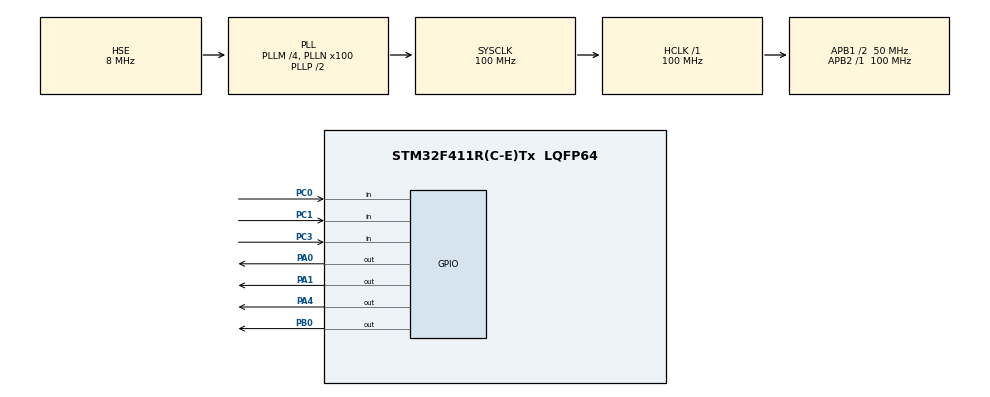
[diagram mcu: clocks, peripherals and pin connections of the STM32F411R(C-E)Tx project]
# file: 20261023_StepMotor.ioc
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Mcu.Family=STM32F4
Mcu.Name=STM32F411R(C-E)Tx
Mcu.Package=LQFP64
NVIC.PriorityGroup=NVIC_PRIORITYGROUP_4
NVIC.TIM1_BRK_TIM9_IRQn=true\:0\:0\:false\:false\:true\:true\:true\:true
PA0-WKUP.Signal=GPIO_Output
PA1.Signal=GPIO_Output
PA13.Mode=Serial_Wire
PA13.Signal=SYS_JTMS-SWDIO
PA14.Mode=Serial_Wire
PA14.Signal=SYS_JTCK-SWCLK
PA4.Signal=GPIO_Output
PB0.Signal=GPIO_Output
PC0.Signal=GPIO_Input
PC1.Signal=GPIO_Input
PC3.Signal=GPIO_Input
PH0\ -\ OSC_IN.Mode=HSE-External-Oscillator
PH0\ -\ OSC_IN.Signal=RCC_OSC_IN
PH1\ -\ OSC_OUT.Mode=HSE-External-Oscillator
PH1\ -\ OSC_OUT.Signal=RCC_OSC_OUT
ProjectManager.HeapSize=0x200
ProjectManager.StackSize=0x400
ProjectManager.TargetToolchain=STM32CubeIDE
RCC.48MHZClocksFreq_Value=50000000
RCC.AHBFreq_Value=100000000
RCC.APB1CLKDivider=RCC_HCLK_DIV2
RCC.APB1Freq_Value=50000000
RCC.APB1TimFreq_Value=100000000
RCC.APB2Freq_Value=100000000
RCC.APB2TimFreq_Value=100000000
RCC.CortexFreq_Value=100000000
RCC.HCLKFreq_Value=100000000
RCC.HSE_VALUE=8000000
RCC.HSI_VALUE=16000000
RCC.LSE_VALUE=32768
RCC.PLLM=4
RCC.PLLN=100
RCC.PLLSourceVirtual=RCC_PLLSOURCE_HSE
RCC.SYSCLKFreq_VALUE=100000000
RCC.SYSCLKSource=RCC_SYSCLKSOURCE_PLLCLK
RCC.VCOOutputFreq_Value=200000000
TIM9.AutoReloadPreload=TIM_AUTORELOAD_PRELOAD_ENABLE
TIM9.Period=1000-1
TIM9.Prescaler=100-1
VP_TIM9_VS_ClockSourceINT.Mode=Internal
board=custom

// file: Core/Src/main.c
/* USER CODE BEGIN Header */
/**
 ******************************************************************************
 * @file           : main.c
 * @brief          : Main program body
 ******************************************************************************
 * @attention
 *
 * Copyright (c) 2026 STMicroelectronics.
 * All rights reserved.
 *
 * This software is licensed under terms that can be found in the LICENSE file
 * in the root directory of this software component.
 * If no LICENSE file comes with this software, it is provided AS-IS.
 *
 ******************************************************************************
 */
/* USER CODE END Header */
#include "main.h"

/* USER CODE BEGIN Includes */
#include "driver/StepMotor/StepMotor.h"
#include "driver/button/button.h"
/* USER CODE END Includes */

TIM_HandleTypeDef htim9;

void SystemClock_Config(void);
static void MX_GPIO_Init(void);
static void MX_TIM9_Init(void);

/* USER CODE BEGIN 0 */
stepMotor_pin_t stepMotorPinSec = {
		.port = {GPIOA, GPIOA, GPIOA, GPIOB},
		.pin = {GPIO_PIN_0, GPIO_PIN_1, GPIO_PIN_4, GPIO_PIN_0}
};

stepMotor_t motor_sec = {
		.pin = &stepMotorPinSec,
		.stepCounter = 0
};

volatile uint8_t isrFlag = 0;

void ClockNeedle_setFlag(void)
{
	isrFlag = 1;
}

void ClockNeedle_clearFlag(void)
{
	isrFlag = 0;
}

void clockNeedle_ISR(void)
{
	ClockNeedle_setFlag();
}

void ClockNeedle_task(void){
	if (isrFlag == 0) {
		return;
	}
	ClockNeedle_clearFlag();
	StepMotor_stepPhase(&motor_sec, STEP_MOTOR_DIR_CW);

}

void HAL_TIM_PeriodElapsedCallback(TIM_HandleTypeDef *htim)
{
	if (htim -> Instance == TIM9) {
		clockNeedle_ISR();
	}
}

/* USER CODE END 0 */

int main(void)
{

	/* MCU Configuration--------------------------------------------------------*/

	/* Reset of all peripherals, Initializes the Flash interface and the Systick. */
	HAL_Init();

	/* Configure the system clock */
	SystemClock_Config();

	/* Initialize all configured peripherals */
	MX_GPIO_Init();
	MX_TIM9_Init();
	/* USER CODE BEGIN 2 */

	button_t btn_up;
	button_t btn_down;

	button_init(&btn_up, GPIOC, GPIO_PIN_1);
	button_init(&btn_down, GPIOC, GPIO_PIN_3);

	HAL_TIM_Base_Start_IT(&htim9);
	/* USER CODE END 2 */

	/* Infinite loop */
	/* USER CODE BEGIN WHILE */
	while (1)
	{

		ClockNeedle_task();
		if(button_getState(&btn_up) == ACT_RELEASE)
		{
			__HAL_TIM_SET_AUTORELOAD(&htim9, 1000-1);
		}
		else if(button_getState(&btn_down) == ACT_RELEASE)
		{
			__HAL_TIM_SET_AUTORELOAD(&htim9, 5000-1);
		}

		//			for (int i = 0; i < 4096; i++){
		//				StepMotor_stepPhase(&motor_sec, STEP_MOTOR_DIR_CCW);
		//				HAL_Delay(2);
		// 1
		//				StepMotor_writePattern(&motor_sec, step_table[7]);
		//				HAL_Delay(2);

		// 2
		//				StepMotor_writePattern(&motor_sec, step_table[6]);
		//				HAL_Delay(2);

		// 3
		//				StepMotor_writePattern(&motor_sec, step_table[5]);
		//				HAL_Delay(2);

		// 4
		//				StepMotor_writePattern(&motor_sec, step_table[4]);
		//				HAL_Delay(2);

		// 5
		//				StepMotor_writePattern(&motor_sec, step_table[3]);
		//				HAL_Delay(2);

		// 6
		//				StepMotor_writePattern(&motor_sec, step_table[2]);
		//				HAL_Delay(2);

		// 7
		//				StepMotor_writePattern(&motor_sec, step_table[1]);
		//				HAL_Delay(2);

		// 8
		//				StepMotor_writePattern(&motor_sec, step_table[0]);
		//				HAL_Delay(2);
		//			}
		//			StepMotor_release(&motor_sec);
		//			HAL_Delay(2000);

		/* USER CODE END WHILE */

	}
}

void SystemClock_Config(void)
{
	RCC_OscInitTypeDef RCC_OscInitStruct = {0};
	RCC_ClkInitTypeDef RCC_ClkInitStruct = {0};

	/** Configure the main internal regulator output voltage
	 */
	__HAL_RCC_PWR_CLK_ENABLE();
	__HAL_PWR_VOLTAGESCALING_CONFIG(PWR_REGULATOR_VOLTAGE_SCALE1);

	/** Initializes the RCC Oscillators according to the specified parameters
	 * in the RCC_OscInitTypeDef structure.
	 */
	RCC_OscInitStruct.OscillatorType = RCC_OSCILLATORTYPE_HSE;
	RCC_OscInitStruct.HSEState = RCC_HSE_ON;
	RCC_OscInitStruct.PLL.PLLState = RCC_PLL_ON;
	RCC_OscInitStruct.PLL.PLLSource = RCC_PLLSOURCE_HSE;
	RCC_OscInitStruct.PLL.PLLM = 4;
	RCC_OscInitStruct.PLL.PLLN = 100;
	RCC_OscInitStruct.PLL.PLLP = RCC_PLLP_DIV2;
	RCC_OscInitStruct.PLL.PLLQ = 4;
	if (HAL_RCC_OscConfig(&RCC_OscInitStruct) != HAL_OK)
	{
		Error_Handler();
	}

	/** Initializes the CPU, AHB and APB buses clocks
	 */
	RCC_ClkInitStruct.ClockType = RCC_CLOCKTYPE_HCLK|RCC_CLOCKTYPE_SYSCLK
			|RCC_CLOCKTYPE_PCLK1|RCC_CLOCKTYPE_PCLK2;
	RCC_ClkInitStruct.SYSCLKSource = RCC_SYSCLKSOURCE_PLLCLK;
	RCC_ClkInitStruct.AHBCLKDivider = RCC_SYSCLK_DIV1;
	RCC_ClkInitStruct.APB1CLKDivider = RCC_HCLK_DIV2;
	RCC_ClkInitStruct.APB2CLKDivider = RCC_HCLK_DIV1;

	if (HAL_RCC_ClockConfig(&RCC_ClkInitStruct, FLASH_LATENCY_3) != HAL_OK)
	{
		Error_Handler();
	}
}

static void MX_TIM9_Init(void)
{

	TIM_ClockConfigTypeDef sClockSourceConfig = {0};

	htim9.Instance = TIM9;
	htim9.Init.Prescaler = 100-1;
	htim9.Init.CounterMode = TIM_COUNTERMODE_UP;
	htim9.Init.Period = 1000-1;
	htim9.Init.ClockDivision = TIM_CLOCKDIVISION_DIV1;
	htim9.Init.AutoReloadPreload = TIM_AUTORELOAD_PRELOAD_ENABLE;
	if (HAL_TIM_Base_Init(&htim9) != HAL_OK)
	{
		Error_Handler();
	}
	sClockSourceConfig.ClockSource = TIM_CLOCKSOURCE_INTERNAL;
	if (HAL_TIM_ConfigClockSource(&htim9, &sClockSourceConfig) != HAL_OK)
	{
		Error_Handler();
	}

}

static void MX_GPIO_Init(void)
{
	GPIO_InitTypeDef GPIO_InitStruct = {0};

	/* GPIO Ports Clock Enable */
	__HAL_RCC_GPIOH_CLK_ENABLE();
	__HAL_RCC_GPIOC_CLK_ENABLE();
	__HAL_RCC_GPIOA_CLK_ENABLE();
	__HAL_RCC_GPIOB_CLK_ENABLE();

	/*Configure GPIO pin Output Level */
	HAL_GPIO_WritePin(GPIOA, GPIO_PIN_0|GPIO_PIN_1|GPIO_PIN_4, GPIO_PIN_RESET);

	/*Configure GPIO pin Output Level */
	HAL_GPIO_WritePin(GPIOB, GPIO_PIN_0, GPIO_PIN_RESET);

	/*Configure GPIO pins : PC0 PC1 PC3 */
	GPIO_InitStruct.Pin = GPIO_PIN_0|GPIO_PIN_1|GPIO_PIN_3;
	GPIO_InitStruct.Mode = GPIO_MODE_INPUT;
	GPIO_InitStruct.Pull = GPIO_NOPULL;
	HAL_GPIO_Init(GPIOC, &GPIO_InitStruct);

	/*Configure GPIO pins : PA0 PA1 PA4 */
	GPIO_InitStruct.Pin = GPIO_PIN_0|GPIO_PIN_1|GPIO_PIN_4;
	GPIO_InitStruct.Mode = GPIO_MODE_OUTPUT_PP;
	GPIO_InitStruct.Pull = GPIO_NOPULL;
	GPIO_InitStruct.Speed = GPIO_SPEED_FREQ_LOW;
	HAL_GPIO_Init(GPIOA, &GPIO_InitStruct);

	/*Configure GPIO pin : PB0 */
	GPIO_InitStruct.Pin = GPIO_PIN_0;
	GPIO_InitStruct.Mode = GPIO_MODE_OUTPUT_PP;
	GPIO_InitStruct.Pull = GPIO_NOPULL;
	GPIO_InitStruct.Speed = GPIO_SPEED_FREQ_LOW;
	HAL_GPIO_Init(GPIOB, &GPIO_InitStruct);

}

void Error_Handler(void)
{
	__disable_irq();
	while (1)
	{
	}
}
